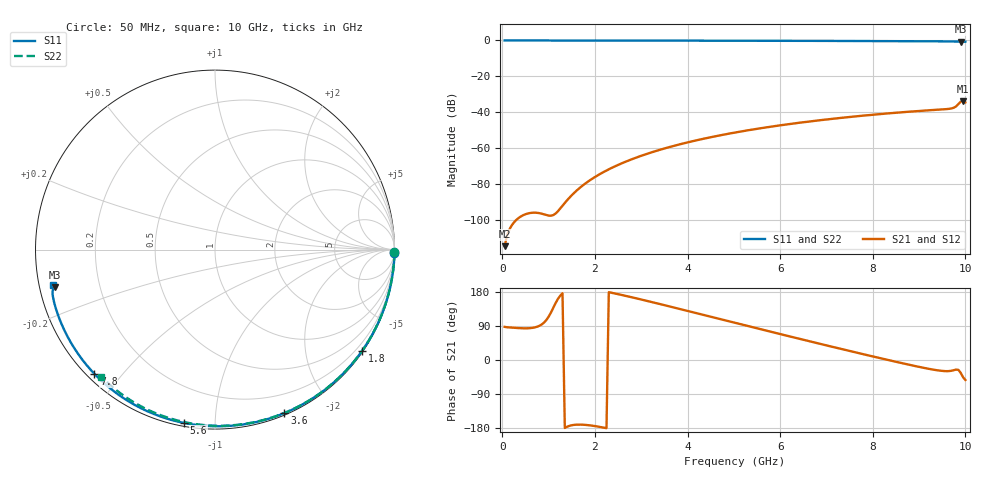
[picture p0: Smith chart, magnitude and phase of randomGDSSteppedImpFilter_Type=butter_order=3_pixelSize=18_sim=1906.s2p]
! freq	dB(S11)	phase(S11)	dB(S12)	phase(S12)
!  dB(S21)	phase(S21)	dB(S22)	phase(S22)
!S-par simulation data
#  GHz  S  DB  R 50
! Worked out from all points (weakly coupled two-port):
!   200 points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, 50 MHz to 10 GHz, reference 50 ohm
!   highest |S21| = -33.90 dB at 9.95 GHz (marker M1); lowest = -114.5 dB at 50 MHz (marker M2)
!   lowest |S11| = -0.7 dB at 9.9 GHz (marker M3), VSWR 23.44, Z = 2.16 - j5.79 ohm
!   |S11| at or under -10 dB: nowhere
!   |S22| runs from -0.4 to 0.0 dB; largest |S21 - S12| = 0
!   S11 on the Smith chart (normalised r, x): 50 MHz: open; 1.8 GHz: 0.03, -3.22; 3.6 GHz: 0.02, -1.51; 5.6 GHz: 0.02, -0.84; 7.8 GHz: 0.02, -0.42; 10 GHz: 0.04, -0.11
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0.05  -0.00 -1.0  -114.52 87.5  -114.52 87.5  -0.00 -0.8
0.85  -0.02 -16.5  -96.43 93.7  -96.43 93.7  -0.02 -12.9
1.75  -0.04 -33.6  -80.46 -170.8  -80.46 -170.8  -0.03 -26.3
1.8  -0.04 -34.5  -79.49 -171.3  -79.49 -171.3  -0.03 -27.1
2.1  -0.05 -40.1  -74.49 -176.4  -74.49 -176.4  -0.04 -31.5
2.5  -0.06 -47.4  -69.29 173.8  -69.29 173.8  -0.05 -37.3
2.9  -0.07 -54.6  -65.13 162.6  -65.13 162.6  -0.06 -43.0
3.4  -0.08 -63.5  -60.89 147.8  -60.89 147.8  -0.07 -50.1
3.6  -0.09 -67.0  -59.41 141.7  -59.41 141.7  -0.07 -52.9
4.3  -0.11 -78.9  -54.97 120.3  -54.97 120.3  -0.09 -62.5
5.05  -0.14 -91.3  -51.14 97.3  -51.14 97.3  -0.11 -72.5
5.6  -0.17 -100.2  -48.78 80.6  -48.78 80.6  -0.13 -79.6
6.7  -0.23 -117.4  -44.89 47.4  -44.89 47.4  -0.18 -93.4
7.8  -0.31 -134.2  -41.84 15.1  -41.84 15.1  -0.25 -106.6
8.35  -0.36 -142.5  -40.56 -0.5  -40.56 -0.5  -0.29 -113.0
9  -0.43 -152.5  -39.24 -18.2  -39.24 -18.2  -0.34 -120.5
9.65  -0.52 -162.9  -38.06 -29.2  -38.06 -29.2  -0.41 -127.8
9.75  -0.56 -164.7  -37.45 -26.9  -37.45 -26.9  -0.43 -128.9
9.8  -0.59 -165.6  -36.69 -25.3  -36.69 -25.3  -0.43 -129.5
9.9  -0.74 -166.8  -34.05 -34.2  -34.05 -34.2  -0.43 -130.5
9.95  -0.72 -166.9  -33.90 -45.6  -33.90 -45.6  -0.43 -131.1
10  -0.67 -167.5  -34.48 -52.7  -34.48 -52.7  -0.43 -131.7
